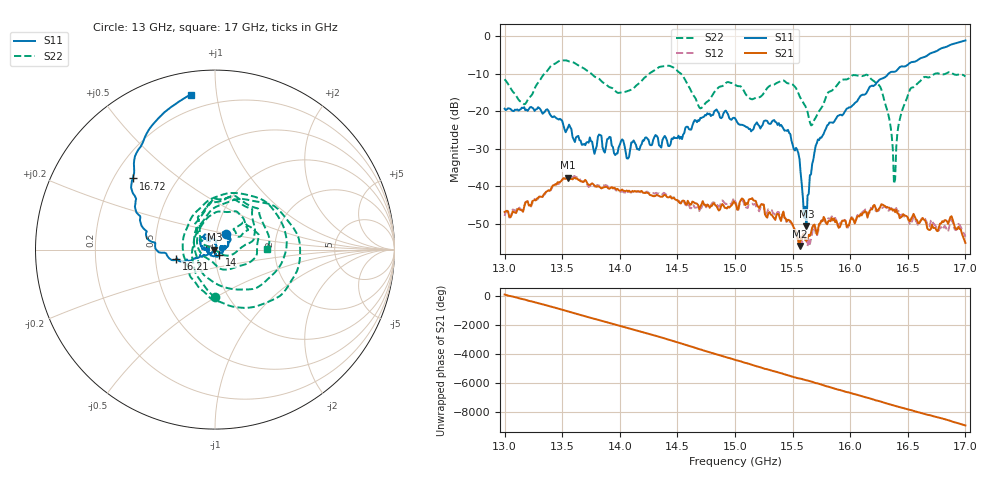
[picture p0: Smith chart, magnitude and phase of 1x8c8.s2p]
!Keysight Technologies,P9374A,MY57211807,A.19.30.04
!Date: Friday, May 08, 2026 15:07:08
!Correction: S11(C  2-Port  )
!S21(C  2-Port  )
!S12(C  2-Port  )
!S22(C  2-Port  )
!S2P File: Measurements: S11, S21, S12, S22:
# Hz S  dB  R 50
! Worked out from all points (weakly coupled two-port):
!   401 points, 13 GHz to 17 GHz, reference 50 ohm
!   highest |S21| = -37.67 dB at 13.55 GHz (marker M1); lowest = -55.8 dB at 15.56 GHz (marker M2)
!   lowest |S11| = -50.7 dB at 15.62 GHz (marker M3), VSWR 1.01, Z = 49.7 - j0.0456 ohm
!   |S11| at or under -10 dB: start of sweep to 16.33 GHz
!   |S22| runs from -39.3 to -6.5 dB; largest |S21 - S12| = 0.0011
!   S11 on the Smith chart (normalised r, x): 13 GHz: 1.11, +0.20; 14 GHz: 1.04, -0.06; 16.21 GHz: 0.64, -0.07; 16.72 GHz: 0.28, +0.35; 17 GHz: 0.12, +0.85
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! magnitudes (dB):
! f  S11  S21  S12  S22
! 13 GHz  -19.3  -46.8  -47.9  -11.5
! 13.17 GHz  -18.9  -45.4  -45.2  -18.2
! 13.55 GHz  -24.3  -37.7  -37.5  -6.6
! 13.67 GHz  -28.9  -38.6  -38.7  -8.3
! 14 GHz  -28.9  -41.1  -41.4  -15.1
! 14.34 GHz  -29.1  -42.5  -41.8  -8.3
! 14.7 GHz  -21.8  -45.3  -45.9  -19.2
! 15 GHz  -21.8  -44.3  -43.8  -12.9
! 15.15 GHz  -25.0  -43.1  -44.6  -16.8
! 15.36 GHz  -23.0  -47.6  -47.3  -12.5
! 15.56 GHz  -32.7  -55.8  -53.7  -16.0
! 15.62 GHz  -50.7  -54.5  -54.2  -19.2
! 15.67 GHz  -34.1  -51.0  -52.5  -23.6
! 15.92 GHz  -20.9  -50.1  -49.5  -11.9
! 16.21 GHz  -13.1  -44.9  -45.1  -12.1
! 16.34 GHz  -9.8  -45.7  -46.1  -22.1
! 16.39 GHz  -9.4  -46.9  -46.3  -38.1
! 16.43 GHz  -8.3  -48.5  -47.7  -22.2
! 16.51 GHz  -7.3  -49.1  -49.3  -14.9
! 16.72 GHz  -4.4  -51.1  -49.8  -10.3
! 16.88 GHz  -2.2  -48.0  -48.8  -9.8
! 17 GHz  -1.2  -55.0  -53.4  -10.8
